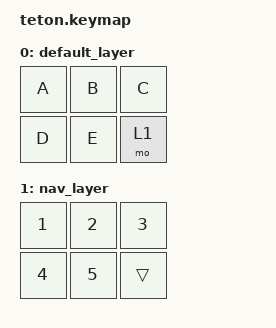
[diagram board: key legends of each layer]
#include <behaviors.dtsi>
#include <dt-bindings/zmk/bt.h>
#include <dt-bindings/zmk/keys.h>
#include <dt-bindings/zmk/ext_power.h>
#include <dt-bindings/zmk/outputs.h>

/ {
    keymap {
        compatible = "zmk,keymap";
        
        default_layer {

            bindings =  <
    &kp A &kp B &kp C
    &kp D &kp E &mo 1
            >;
        };
        nav_layer {

             bindings = <
      &kp N1 &kp N2 &kp N3
      &kp N4 &kp N5 &trans
             >;
         };
    };
};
